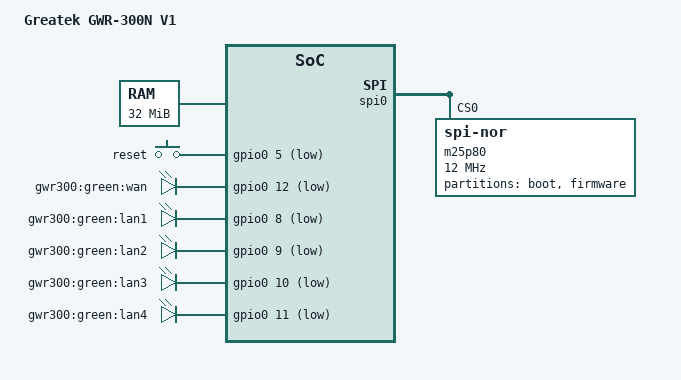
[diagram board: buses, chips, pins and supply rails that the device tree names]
// SPDX-License-Identifier: GPL-2.0
/dts-v1/;

#include "RTL819X.dtsi"

#include <dt-bindings/gpio/gpio.h>
#include <dt-bindings/input/input.h>

/ {
	compatible = "greatek,gwr300", "realtek,rtl819x-soc";
	model = "Greatek GWR-300N V1";

	cpus {
		cpu@0 {
			compatible = "realtek,rlx4181";
		};
	};

	memory {
		device_type = "memory";
		reg = <0x0 0x2000000>;
	};

	chosen {
		bootargs = "console=ttyS0,38400";
	};

	gpio-keys-polled {
		compatible = "gpio-keys-polled";
		#address-cells = <1>;
		#size-cells = <0>;
		poll-interval = <20>;

		reset {
			label = "reset";
			gpios = <&gpio0 5 GPIO_ACTIVE_LOW>;
			linux,code = <KEY_RESTART>;
		};
	};

	gpio-leds {
		compatible = "gpio-leds";

		wan {
			label = "gwr300:green:wan";
			gpios = <&gpio0 12 GPIO_ACTIVE_LOW>;
		};

		lan1 {
			label = "gwr300:green:lan1";
			gpios = <&gpio0 8 GPIO_ACTIVE_LOW>;
		};

		lan2 {
			label = "gwr300:green:lan2";
			gpios = <&gpio0 9 GPIO_ACTIVE_LOW>;
		};

		lan3 {
			label = "gwr300:green:lan3";
			gpios = <&gpio0 10 GPIO_ACTIVE_LOW>;
		};

		lan4 {
			label = "gwr300:green:lan4";
			gpios = <&gpio0 11 GPIO_ACTIVE_LOW>;
		};
	};
};

&gpio0 {
	status = "okay";
};

&spi0 {
	status = "okay";

	m25p80@0 {
		#address-cells = <1>;
		#size-cells = <1>;
		compatible = "jedec,spi-nor";
		reg = <0>;
		spi-max-frequency = <12000000>;

		partition@0 {
			label = "boot";
			reg = <0x0 0x18000>;
			read-only;
		};

		partition@18000 {
			label = "firmware";
			reg = <0x18000 0x3E8000>;
		};
	};
};
